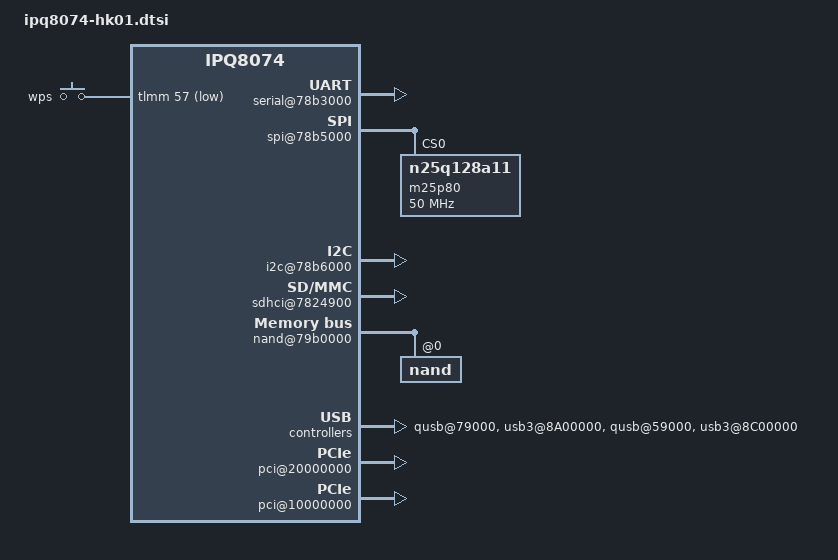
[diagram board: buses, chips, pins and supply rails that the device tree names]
// SPDX-License-Identifier: GPL-2.0-only
/dts-v1/;
/* Copyright (c) 2017, 2020, The Linux Foundation. All rights reserved.
 */
#include "ipq8074.dtsi"
#include "ipq8074-hk-cpu.dtsi"

/ {
	#address-cells = <0x2>;
	#size-cells = <0x2>;
	interrupt-parent = <&intc>;
	qcom,msm-id = <0x143 0x0>, <0x186 0x0>, <0x158 0x0>, <0x188 0x0>;

	aliases {
		serial0 = &blsp1_uart5;
		/*
		 * Aliases as required by u-boot
		 * to patch MAC addresses
		 */
		ethernet0 = "/soc/dp1";
		ethernet1 = "/soc/dp2";
		ethernet2 = "/soc/dp3";
		ethernet3 = "/soc/dp4";
		ethernet4 = "/soc/dp5";
		ethernet5 = "/soc/dp6";
	};

	chosen {
		stdout-path = "serial0";
	};

	soc {
		pinctrl@1000000 {
			sd_pins: sd-pinmux {
				pins = "gpio63";
				function = "sd_card";
				drive-strength = <8>;
				bias-pull-up;
			};

			button_pins: button_pins {
				wps_button {
					pins = "gpio57";
					function = "gpio";
					drive-strength = <8>;
					bias-pull-up;
				};
			};

			ledc_pins: ledc_pinmux {
				led_clk {
					pins = "gpio18";
					function = "led0";
					drive-strength = <8>;
					bias-pull-down;
				};

				led_data {
					pins = "gpio19";
					function = "led1";
					drive-strength = <8>;
					bias-pull-down;
				};

				led_clr {
					pins = "gpio20";
					function = "led2";
					drive-strength = <8>;
					bias-pull-up;
				};
			};

			mdio_pins: mdio_pinmux {
				mux_0 {
					pins = "gpio68";
					function = "mdc";
					drive-strength = <8>;
					bias-pull-up;
				};
				mux_1 {
					pins = "gpio69";
					function = "mdio";
					drive-strength = <8>;
					bias-pull-up;
				};
			};

			uniphy_pins: uniphy_pinmux {
				mux {
					pins = "gpio60";
					function = "rx2";
					bias-disable;
				};

				sfp_tx {
					pins = "gpio59";
					function = "gpio";
					drive-strength = <8>;
					bias-pull-down;
					output-low;
				};
			};

			pwm_pins: pwm_pinmux {
				mux_1 {
					pins = "gpio25";
					function = "pwm02";
					drive-strength = <8>;
				};
			};
		};

		serial@78b3000 {
			status = "ok";
		};

		spi@78b5000 {
			status = "ok";
			pinctrl-0 = <&spi_0_pins>;
			pinctrl-names = "default";
			cs-select = <0>;

			m25p80@0 {
				  compatible = "n25q128a11";
				  #address-cells = <1>;
				  #size-cells = <1>;
				  reg = <0>;
				  spi-max-frequency = <50000000>;
			};
		};

		i2c@78b6000 {
			 status = "ok";
		};

		sdhci@7824900 {
			status = "ok";
		};

		dma@7984000 {
			 status = "ok";
		};

		nand@79b0000 {
			status = "ok";

			nand@0 {
				reg = <0>;
				#address-cells = <1>;
				#size-cells = <1>;

				nand-ecc-strength = <4>;
				nand-ecc-step-size = <512>;
				nand-bus-width = <8>;
			};
		};

		qusb@79000 {
			status = "ok";
		};

		ssphy@78000 {
			status = "ok";
		};

		usb3@8A00000 {
			status = "ok";
		};

		qusb@59000 {
			status = "ok";
		};

		ssphy@58000 {
			status = "ok";
		};

		usb3@8C00000 {
			status = "ok";
		};

		phy@84000 {
			status = "ok";
		};

		phy@86000 {
			status = "ok";
		};

		pci@20000000 {
			perst-gpio = <&tlmm 58 1>;
			status = "ok";
		};

		phy@8e000 {
			status = "ok";
		};

		pci@10000000 {
			perst-gpio = <&tlmm 61 0x1>;
			status = "ok";
		};

		gpio_keys {
			compatible = "gpio-keys";
			pinctrl-0 = <&button_pins>;
			pinctrl-names = "default";
			status = "ok";

			button@1 {
				label = "wps";
				linux,code = <KEY_WPS_BUTTON>;
				gpios = <&tlmm 57 GPIO_ACTIVE_LOW>;
				linux,input-type = <1>;
				debounce-interval = <60>;
			};
		};

		ledc@191E000  {
			pinctrl-0 = <&ledc_pins>;
			pinctrl-names = "default";
			status = "ok";

			led0 {
				label = "ipq::led0";
				linux,default-trigger = "led_wifi_son_green";
			};
			led1 {
				label = "ipq::led1";
				linux,default-trigger = "led_wifi_son_orange";
			};
			led2 {
				label = "ipq::led2";
				linux,default-trigger = "led_wifi_son_blue";
			};
			led3 {
				label = "ipq::led3";
				linux,default-trigger = "led_2g";
			};
			led4 {
				label = "ipq::led4";
				linux,default-trigger = "led_5gl";
			};
			led5 {
				label = "ipq::led5";
				linux,default-trigger = "led_5gh";
			};
			led6 {
				label = "ipq::led6";
				linux,default-trigger = "led_lan";
			};
			led7 {
				label = "ipq::led7";
				linux,default-trigger = "led_wan";
			};
			led8 {
				label = "ipq::led8";
				linux,default-trigger = "led_10g_link";
			};
			led9 {
				label = "ipq::led9";
				linux,default-trigger = "led_sfp";
			};
			led10 {
				label = "ipq::led10";
				linux,default-trigger = "led_bt";
			};
			led11 {
				label = "ipq::led11";
				linux,default-trigger = "none";
			};
			led12 {
				label = "ipq::led12";
				linux,default-trigger = "none";
			};
		};
	};
};
